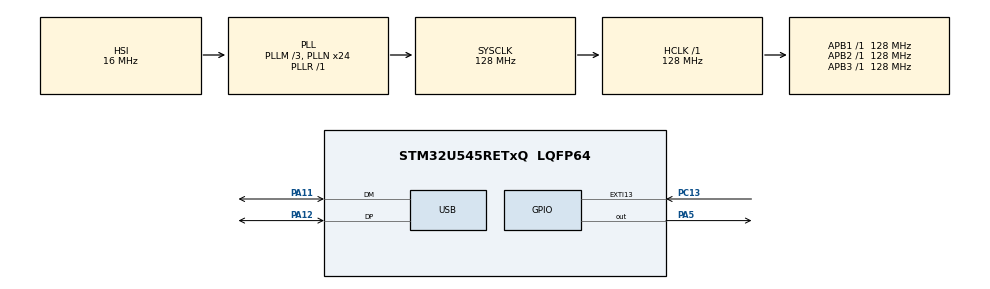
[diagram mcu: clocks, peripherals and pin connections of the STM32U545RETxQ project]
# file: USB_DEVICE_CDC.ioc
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CORTEX_M33_NS.userName=CORTEX_M33
Mcu.Family=STM32U5
Mcu.Name=STM32U545RETxQ
Mcu.Package=LQFP64
NUCLEO-U545RE-Q.BUTTON=1
NUCLEO-U545RE-Q.LD2=true
NVIC.EXTI13_IRQn=true\:0\:0\:false\:false\:true\:false\:true\:true
NVIC.PriorityGroup=NVIC_PRIORITYGROUP_4
NVIC.USB_IRQn=true\:0\:0\:false\:false\:true\:true\:true\:true
PA11.Mode=Device
PA11.Signal=USB_DM
PA12.Mode=Device
PA12.Signal=USB_DP
PA5.Signal=GPIO_Output
PC13.Signal=GPXTI13
PH0-OSC_IN\ (PH0).Mode=HSE-External-Clock-Source
PH0-OSC_IN\ (PH0).Signal=RCC_OSC_IN
PWR.PowerMode=PWR_SMPS_SUPPLY
ProjectManager.HeapSize=0x600
ProjectManager.StackSize=0x800
ProjectManager.TargetToolchain=STM32CubeIDE
RCC.ADCFreq_Value=16000000
RCC.AHBFreq_Value=128000000
RCC.APB1Freq_Value=128000000
RCC.APB1TimFreq_Value=128000000
RCC.APB2Freq_Value=128000000
RCC.APB2TimFreq_Value=128000000
RCC.APB3Freq_Value=128000000
RCC.CortexFreq_Value=128000000
RCC.DACCLockSelectionVirtual=RCC_DAC1CLKSOURCE_LSI
RCC.DACCLockSelectionVirtualString=RCC_DAC1CLKSOURCE_LSI
RCC.EPOD_VALUE=16000000
RCC.HCLKFreq_Value=128000000
RCC.HSE_VALUE=16000000
RCC.HSI48_VALUE=48000000
RCC.HSI_VALUE=16000000
RCC.LSE_VALUE=32768
RCC.LSIDIV_VALUE=32000
RCC.MSIClockRange=RCC_MSIRANGE_0
RCC.MSI_VALUE=48000000
RCC.PLL1R=1
RCC.PLL2FRACN=0
RCC.PLL3FRACN=0
RCC.PLLFRACN=0
RCC.PLLM=3
RCC.PLLN=24
RCC.PLLSourceVirtual=RCC_PLLSOURCE_HSI
RCC.SYSCLKFreq_VALUE=128000000
RCC.SYSCLKSource=RCC_SYSCLKSOURCE_PLLCLK
RCC.USBFreq_Value=48000000
RCC.VCOOutputFreq_Value=128000000
VP_ICACHE_VS_ICACHE.Mode=DirectMappedCache
VP_LPBAMQUEUE_VS_QUEUE.Mode=QUEUEMODE
VP_LPBAM_VS_SIG1.Mode=SmartRun
VP_LPBAM_VS_SIG4.Mode=LPDMA1
VP_MEMORYMAP_VS_MEMORYMAP.Mode=CurAppReg
VP_NUCLEO-U545RE-Q_VS_BSP_COMMON.Mode=COMMON
VP_PWR_VS_LPOM.Mode=PowerOptimisation
VP_PWR_VS_SECSignals.Mode=Security/Privilege
VP_RCC_USB.Mode=CRS SYNC Source USB
board=NUCLEO-U545RE-Q

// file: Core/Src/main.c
/* USER CODE BEGIN Header */
/**
  ******************************************************************************
  * @file           : main.c
  * @brief          : Main program body
  ******************************************************************************
  * @attention
  *
  * Copyright (c) 2025 STMicroelectronics.
  * All rights reserved.
  *
  * This software is licensed under terms that can be found in the LICENSE file
  * in the root directory of this software component.
  * If no LICENSE file comes with this software, it is provided AS-IS.
  *
  ******************************************************************************
  */
/* USER CODE END Header */
#include "main.h"

/* USER CODE BEGIN Includes */
#include "usbd_cdc_if.h"
/* USER CODE END Includes */

PCD_HandleTypeDef hpcd_USB_DRD_FS;

/* USER CODE BEGIN PV */

extern USBD_ClassTypeDef  USBD_CDC;
USBD_HandleTypeDef hUsbDeviceFS;
uint8_t CDC_EpAdd_Inst[3] = {CDC_IN_EP, CDC_OUT_EP, CDC_CMD_EP};
uint8_t CDC_InstID = 0;

/* USER CODE END PV */

void SystemClock_Config(void);
static void SystemPower_Config(void);
static void MX_GPIO_Init(void);
static void MX_ICACHE_Init(void);

int main(void)
{

  /* USER CODE BEGIN 1 */
	uint8_t TxMessageBuffer[] = "MY USB IS WORKING! \r\n";
  /* USER CODE END 1 */

  /* MCU Configuration--------------------------------------------------------*/

  /* Reset of all peripherals, Initializes the Flash interface and the Systick. */
  HAL_Init();

  /* Configure the System Power */
  SystemPower_Config();

  /* Configure the system clock */
  SystemClock_Config();

  /* Initialize all configured peripherals */
  MX_GPIO_Init();
  MX_ICACHE_Init();
  /* USER CODE BEGIN 2 */
  hpcd_USB_DRD_FS.pData = &hUsbDeviceFS;

  if(USBD_Init(&hUsbDeviceFS, &CDC_Desc, 0) != USBD_OK)
        Error_Handler();

  if (USBD_RegisterClass(&hUsbDeviceFS, &USBD_CDC) != USBD_OK)
        Error_Handler();

  if(USBD_CDC_RegisterInterface(&hUsbDeviceFS, &USBD_CDC_Template_fops) != USBD_OK)
        Error_Handler();

  if(USBD_Start(&hUsbDeviceFS) != USBD_OK)
        Error_Handler();

  while(hUsbDeviceFS.pClassData == NULL);
  /* USER CODE END 2 */

  /* Initialize led */
  BSP_LED_Init(LED_GREEN);

  /* Initialize USER push-button, will be used to trigger an interrupt each time it's pressed.*/
  BSP_PB_Init(BUTTON_USER, BUTTON_MODE_EXTI);

  /* Infinite loop */
   while (1)
  {

    /* USER CODE BEGIN 3 */
	  TEMPLATE_Transmit(TxMessageBuffer, sizeof(TxMessageBuffer));
	  HAL_Delay(500);
  }
  /* USER CODE END 3 */
}

void SystemClock_Config(void)
{
  RCC_OscInitTypeDef RCC_OscInitStruct = {0};
  RCC_ClkInitTypeDef RCC_ClkInitStruct = {0};
  RCC_CRSInitTypeDef RCC_CRSInitStruct = {0};

  /** Configure the main internal regulator output voltage
  */
  if (HAL_PWREx_ControlVoltageScaling(PWR_REGULATOR_VOLTAGE_SCALE1) != HAL_OK)
  {
    Error_Handler();
  }

  /** Initializes the CPU, AHB and APB buses clocks
  */
  RCC_OscInitStruct.OscillatorType = RCC_OSCILLATORTYPE_HSI48|RCC_OSCILLATORTYPE_HSI;
  RCC_OscInitStruct.HSIState = RCC_HSI_ON;
  RCC_OscInitStruct.HSI48State = RCC_HSI48_ON;
  RCC_OscInitStruct.HSICalibrationValue = RCC_HSICALIBRATION_DEFAULT;
  RCC_OscInitStruct.PLL.PLLState = RCC_PLL_ON;
  RCC_OscInitStruct.PLL.PLLSource = RCC_PLLSOURCE_HSI;
  RCC_OscInitStruct.PLL.PLLMBOOST = RCC_PLLMBOOST_DIV1;
  RCC_OscInitStruct.PLL.PLLM = 3;
  RCC_OscInitStruct.PLL.PLLN = 24;
  RCC_OscInitStruct.PLL.PLLP = 2;
  RCC_OscInitStruct.PLL.PLLQ = 2;
  RCC_OscInitStruct.PLL.PLLR = 1;
  RCC_OscInitStruct.PLL.PLLRGE = RCC_PLLVCIRANGE_0;
  RCC_OscInitStruct.PLL.PLLFRACN = 0;
  if (HAL_RCC_OscConfig(&RCC_OscInitStruct) != HAL_OK)
  {
    Error_Handler();
  }

  /** Initializes the CPU, AHB and APB buses clocks
  */
  RCC_ClkInitStruct.ClockType = RCC_CLOCKTYPE_HCLK|RCC_CLOCKTYPE_SYSCLK
                              |RCC_CLOCKTYPE_PCLK1|RCC_CLOCKTYPE_PCLK2
                              |RCC_CLOCKTYPE_PCLK3;
  RCC_ClkInitStruct.SYSCLKSource = RCC_SYSCLKSOURCE_PLLCLK;
  RCC_ClkInitStruct.AHBCLKDivider = RCC_SYSCLK_DIV1;
  RCC_ClkInitStruct.APB1CLKDivider = RCC_HCLK_DIV1;
  RCC_ClkInitStruct.APB2CLKDivider = RCC_HCLK_DIV1;
  RCC_ClkInitStruct.APB3CLKDivider = RCC_HCLK_DIV1;

  if (HAL_RCC_ClockConfig(&RCC_ClkInitStruct, FLASH_LATENCY_3) != HAL_OK)
  {
    Error_Handler();
  }

  /** Enable the SYSCFG APB clock
  */
  __HAL_RCC_CRS_CLK_ENABLE();

  /** Configures CRS
  */
  RCC_CRSInitStruct.Prescaler = RCC_CRS_SYNC_DIV1;
  RCC_CRSInitStruct.Source = RCC_CRS_SYNC_SOURCE_USB;
  RCC_CRSInitStruct.Polarity = RCC_CRS_SYNC_POLARITY_RISING;
  RCC_CRSInitStruct.ReloadValue = __HAL_RCC_CRS_RELOADVALUE_CALCULATE(48000000,1000);
  RCC_CRSInitStruct.ErrorLimitValue = 34;
  RCC_CRSInitStruct.HSI48CalibrationValue = 32;

  HAL_RCCEx_CRSConfig(&RCC_CRSInitStruct);
}

/**
  * @brief Power Configuration
  * @retval None
  */
static void SystemPower_Config(void)
{

  /*
   * Switch to SMPS regulator instead of LDO
   */
  if (HAL_PWREx_ConfigSupply(PWR_SMPS_SUPPLY) != HAL_OK)
  {
    Error_Handler();
  }
}

static void MX_ICACHE_Init(void)
{

  /** Enable instruction cache in 1-way (direct mapped cache)
  */
  if (HAL_ICACHE_ConfigAssociativityMode(ICACHE_1WAY) != HAL_OK)
  {
    Error_Handler();
  }
  if (HAL_ICACHE_Enable() != HAL_OK)
  {
    Error_Handler();
  }

}

void MX_USB_DRD_FS_PCD_Init(void)
{

  hpcd_USB_DRD_FS.Instance = USB_DRD_FS;
  hpcd_USB_DRD_FS.Init.dev_endpoints = 8;
  hpcd_USB_DRD_FS.Init.speed = PCD_SPEED_FULL;
  hpcd_USB_DRD_FS.Init.phy_itface = PCD_PHY_EMBEDDED;
  hpcd_USB_DRD_FS.Init.Sof_enable = DISABLE;
  hpcd_USB_DRD_FS.Init.low_power_enable = DISABLE;
  hpcd_USB_DRD_FS.Init.lpm_enable = DISABLE;
  hpcd_USB_DRD_FS.Init.battery_charging_enable = DISABLE;
  hpcd_USB_DRD_FS.Init.vbus_sensing_enable = DISABLE;
  hpcd_USB_DRD_FS.Init.bulk_doublebuffer_enable = DISABLE;
  hpcd_USB_DRD_FS.Init.iso_singlebuffer_enable = DISABLE;
  if (HAL_PCD_Init(&hpcd_USB_DRD_FS) != HAL_OK)
  {
    Error_Handler();
  }

}

static void MX_GPIO_Init(void)
{

  /* GPIO Ports Clock Enable */
  __HAL_RCC_GPIOH_CLK_ENABLE();
  __HAL_RCC_GPIOA_CLK_ENABLE();

}

void Error_Handler(void)
{
  __disable_irq();
  while (1)
  {
  }
}
